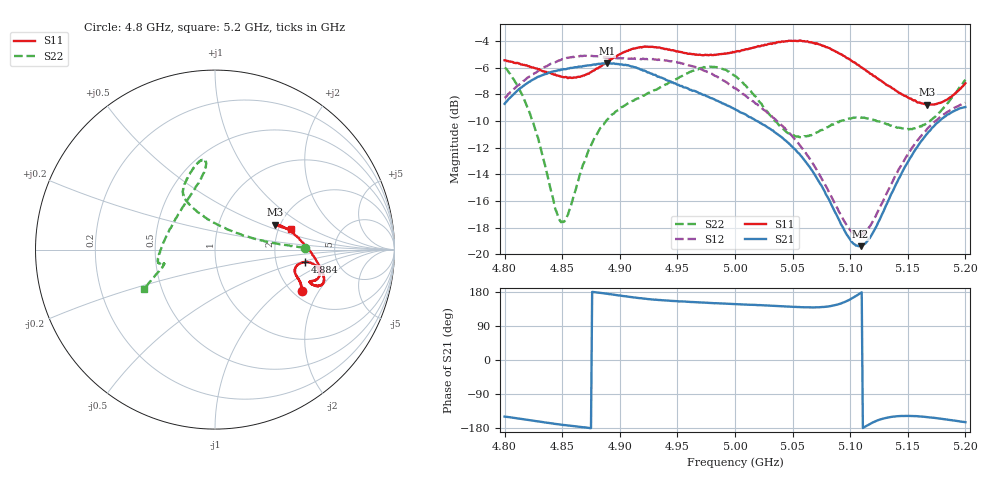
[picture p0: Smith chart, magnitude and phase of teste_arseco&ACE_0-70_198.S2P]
! Network Analyzer HP8722D
! Hewlett-Packard
! Data name: Linha & Wilkinson
! Saver's name: Rodrigo Anjos
! Comments: Teste da utilização de aquisição
! continua pelo VNA HP8722D
! Time and date: 8/5/2025 14:24
!  Frequency  S11  S21  S12  S22
# HZ  S  MA R 50
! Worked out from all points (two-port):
!   401 points, 4.8 GHz to 5.2 GHz, reference 50 ohm
!   highest |S21| = -5.68 dB at 4.889 GHz (marker M1); lowest = -19.4 dB at 5.109 GHz (marker M2)
!   |S21| within 3 dB of the highest: 4.8 GHz to 4.989 GHz (188.5 MHz wide, 3.85 % of centre)
!   lowest |S11| = -8.8 dB at 5.167 GHz (marker M3), VSWR 2.15, Z = 94.4 + j30.3 ohm
!   |S11| at or under -10 dB: nowhere
!   |S22| runs from -17.6 to -5.9 dB; largest |S21 - S12| = 1.1
!   S11 on the Smith chart (normalised r, x): 4.8 GHz: 2.24, -1.43; 4.884 GHz: 2.95, -0.55; 5.2 GHz: 2.34, +0.65
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4.8e9  0.5335 -25.3  0.3664 -149.4  0.3854 10.2  0.5 1.2
4.812e9  0.5198 -22.2  0.4136 -154.3  0.4301 8.3  0.4216 2.7
4.823e9  0.5035 -20.3  0.4475 -159.3  0.4676 6.9  0.3266 6.4
4.848e9  0.465 -16.2  0.4893 -170.1  0.5331 2.7  0.1337 55.8
4.855e9  0.4571 -14.4  0.4968 -172.8  0.5453 1.4  0.1408 85.3
4.867e9  0.4653 -10.7  0.5044 -177.0  0.5528 -0.1  0.2096 111.8
4.884e9  0.5076 -7.8  0.519 176.8  0.5501 -1.3  0.2988 120.0
4.889e9  0.5248 -7.8  0.52 174.9  0.5477 -1.3  0.3195 120.6
4.912e9  0.5898 -11.2  0.5037 165.3  0.541 -0.8  0.3759 118.2
4.934e9  0.5962 -15.8  0.4632 158.2  0.5374 -1.7  0.4193 111.8
4.973e9  0.5575 -18.6  0.3952 151.3  0.4882 -5.2  0.5034 99.1
5e9  0.574 -19.5  0.35 147.5  0.4194 -5.6  0.4668 96.4
5.018e9  0.5977 -19.6  0.3172 145.4  0.3666 -2.8  0.3902 103.3
5.044e9  0.6291 -17.8  0.2667 141.2  0.2939 2.6  0.2889 131.6
5.067e9  0.6217 -13.5  0.2058 138.9  0.2211 9.3  0.2814 164.9
5.098e9  0.5426 -2.8  0.1169 156.9  0.1266 37.9  0.3216 -170.6
5.109e9  0.5043 2.5  0.1072 176.5  0.118 59.6  0.3246 -167.2
5.119e9  0.4722 7.7  0.1187 -165.8  0.1313 78.6  0.3206 -166.4
5.134e9  0.4263 14.6  0.1619 -151.1  0.1773 94.7  0.3051 -166.0
5.167e9  0.3641 22.4  0.2836 -150.7  0.2955 102.0  0.3102 -161.2
5.182e9  0.3761 20.5  0.3279 -156.2  0.3359 102.0  0.3575 -157.1
5.2e9  0.4374 14.8  0.3562 -164.2  0.3696 102.3  0.4509 -150.9
